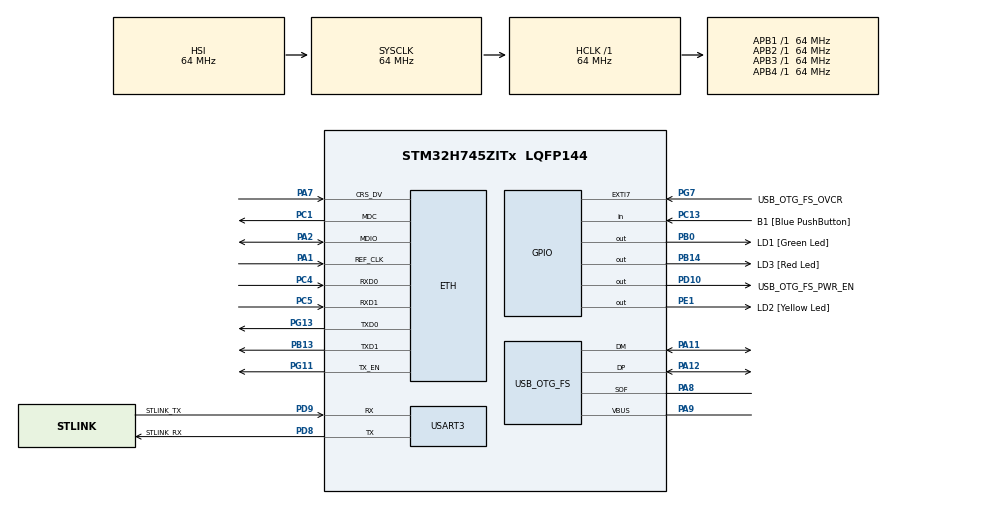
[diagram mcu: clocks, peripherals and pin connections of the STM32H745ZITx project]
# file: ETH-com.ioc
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CORTEX_M7.AccessPermission-Cortex_Memory_Protection_Unit_Region0_Settings=MPU_REGION_FULL_ACCESS
CORTEX_M7.AccessPermission-Cortex_Memory_Protection_Unit_Region1_Settings=MPU_REGION_FULL_ACCESS
CORTEX_M7.BaseAddress-Cortex_Memory_Protection_Unit_Region0_Settings=0x30040000
CORTEX_M7.BaseAddress-Cortex_Memory_Protection_Unit_Region1_Settings=0x30040000
CORTEX_M7.CPU_DCache=Enabled
CORTEX_M7.CPU_ICache=Enabled
CORTEX_M7.DisableExec-Cortex_Memory_Protection_Unit_Region0_Settings=MPU_INSTRUCTION_ACCESS_DISABLE
CORTEX_M7.DisableExec-Cortex_Memory_Protection_Unit_Region1_Settings=MPU_INSTRUCTION_ACCESS_DISABLE
CORTEX_M7.Enable-Cortex_Memory_Protection_Unit_Region0_Settings=MPU_REGION_ENABLE
CORTEX_M7.Enable-Cortex_Memory_Protection_Unit_Region1_Settings=MPU_REGION_ENABLE
CORTEX_M7.IsBufferable-Cortex_Memory_Protection_Unit_Region1_Settings=MPU_ACCESS_BUFFERABLE
CORTEX_M7.IsShareable-Cortex_Memory_Protection_Unit_Region1_Settings=MPU_ACCESS_SHAREABLE
CORTEX_M7.MPU_Control=MPU_PRIVILEGED_DEFAULT
CORTEX_M7.Size-Cortex_Memory_Protection_Unit_Region0_Settings=MPU_REGION_SIZE_32KB
CORTEX_M7.Size-Cortex_Memory_Protection_Unit_Region1_Settings=MPU_REGION_SIZE_256B
CORTEX_M7.TypeExtField-Cortex_Memory_Protection_Unit_Region0_Settings=MPU_TEX_LEVEL1
CortexM4.IPs=FATFS_M4\:I,FREERTOS_M4\:I,IWDG2\:I,RCC,WWDG2\:I,DMA,BDMA,MDMA,NVIC2\:I,USART3,ETH,DEBUG,USB_DEVICE_M4\:I,USB_HOST_M4\:I,PDM2PCM_M4\:I,PWR,RESMGR_UTILITY,SYS_M4\:I,CORTEX_M4\:I,OPENAMP_M4\:I,VREFBUF
CortexM7.IPs=FATFS_M7\:I,FREERTOS_M7\:I,IWDG1\:I,RCC\:I,WWDG1\:I,DMA\:I,BDMA\:I,MDMA\:I,NVIC1\:I,SYS\:I,USART3\:I,USB_OTG_FS\:I,ETH\:I,CORTEX_M7\:I,DEBUG\:I,USB_DEVICE_M7\:I,USB_HOST_M7\:I,PDM2PCM_M7\:I,PWR\:I,RESMGR_UTILITY\:I,OPENAMP_M7\:I,VREFBUF\:I,LWIP\:I,TIM7\:I,TIM2\:I
ETH.MediaInterface=HAL_ETH_RMII_MODE
FREERTOS_M7.Tasks01=defaultTask,24,256,StartDefaultTask,Default,NULL,Dynamic,NULL,NULL
FREERTOS_M7.configTOTAL_HEAP_SIZE=30720
LWIP.BSP.number=1
LWIP.IP_ADDRESS=192.168.001.110
LWIP.LWIP_DHCP=1
LWIP.MEM_SIZE=16360
LWIP.NETMASK_ADDRESS=255.255.255.000
LWIP.Version=v2.1.2_Cube
LWIP0.BSP.STBoard=false
LWIP0.BSP.api=BSP_COMPONENT_DRIVER
LWIP0.BSP.component=LAN8742
LWIP0.BSP.i2caddr=0
LWIP0.BSP.instance=LAN8742
LWIP0.BSP.name=Driver_PHY
LWIP0.BSP.solution=LAN8742
Mcu.Family=STM32H7
Mcu.Name=STM32H745ZITx
Mcu.Package=LQFP144
NVIC1.ETH_IRQn=true\:5\:0\:true\:false\:true\:true\:true\:true
NVIC1.ETH_WKUP_IRQn=true\:5\:0\:true\:false\:true\:true\:true\:true
NVIC1.PriorityGroup=NVIC_PRIORITYGROUP_4
NVIC1.TIM2_IRQn=true\:5\:0\:false\:false\:true\:true\:true\:true
NVIC1.TIM7_IRQn=true\:0\:0\:false\:false\:true\:false\:false\:true
NVIC1.TimeBase=TIM7_IRQn
NVIC1.TimeBaseIP=TIM7
NVIC1.USART3_IRQn=true\:15\:0\:true\:false\:true\:true\:true\:true
NVIC2.PriorityGroup=NVIC_PRIORITYGROUP_4
PA1.GPIO_Speed=GPIO_SPEED_FREQ_VERY_HIGH
PA1.Mode=RMII
PA1.PinAttribute=CortexM7
PA1.Signal=ETH_REF_CLK
PA11.Mode=Device_Only
PA11.PinAttribute=CortexM7
PA11.Signal=USB_OTG_FS_DM
PA12.Mode=Device_Only
PA12.PinAttribute=CortexM7
PA12.Signal=USB_OTG_FS_DP
PA2.GPIO_Speed=GPIO_SPEED_FREQ_VERY_HIGH
PA2.Mode=RMII
PA2.PinAttribute=CortexM7
PA2.Signal=ETH_MDIO
PA7.GPIO_Speed=GPIO_SPEED_FREQ_VERY_HIGH
PA7.Mode=RMII
PA7.PinAttribute=CortexM7
PA7.Signal=ETH_CRS_DV
PA8.Mode=Activate_SOF_FS
PA8.PinAttribute=CortexM7
PA8.Signal=USB_OTG_FS_SOF
PA9.Mode=Activate_VBUS
PA9.PinAttribute=CortexM7
PA9.Signal=USB_OTG_FS_VBUS
PB0.GPIO_Label=LD1 [Green Led]
PB0.PinAttribute=Free
PB0.Signal=GPIO_Output
PB13.GPIO_Speed=GPIO_SPEED_FREQ_VERY_HIGH
PB13.Mode=RMII
PB13.PinAttribute=CortexM7
PB13.Signal=ETH_TXD1
PB14.GPIO_Label=LD3 [Red Led]
PB14.PinAttribute=Free
PB14.Signal=GPIO_Output
PC1.GPIO_Speed=GPIO_SPEED_FREQ_VERY_HIGH
PC1.Mode=RMII
PC1.PinAttribute=CortexM7
PC1.Signal=ETH_MDC
PC13.GPIO_Label=B1 [Blue PushButton]
PC13.PinAttribute=Free
PC13.Signal=GPIO_Input
PC14-OSC32_IN\ (OSC32_IN).Mode=LSE-External-Oscillator
PC14-OSC32_IN\ (OSC32_IN).PinAttribute=CortexM7
PC14-OSC32_IN\ (OSC32_IN).Signal=RCC_OSC32_IN
PC15-OSC32_OUT\ (OSC32_OUT).Mode=LSE-External-Oscillator
PC15-OSC32_OUT\ (OSC32_OUT).PinAttribute=CortexM7
PC15-OSC32_OUT\ (OSC32_OUT).Signal=RCC_OSC32_OUT
PC4.GPIO_Speed=GPIO_SPEED_FREQ_VERY_HIGH
PC4.Mode=RMII
PC4.PinAttribute=CortexM7
PC4.Signal=ETH_RXD0
PC5.GPIO_Speed=GPIO_SPEED_FREQ_VERY_HIGH
PC5.Mode=RMII
PC5.PinAttribute=CortexM7
PC5.Signal=ETH_RXD1
PD10.GPIO_Label=USB_OTG_FS_PWR_EN
PD10.PinAttribute=Free
PD10.Signal=GPIO_Output
PD8.GPIO_Label=STLINK_RX
PD8.Mode=Asynchronous
PD8.PinAttribute=CortexM7
PD8.Signal=USART3_TX
PD9.GPIO_Label=STLINK_TX
PD9.Mode=Asynchronous
PD9.PinAttribute=CortexM7
PD9.Signal=USART3_RX
PE1.GPIO_Label=LD2 [Yellow Led]
PE1.PinAttribute=Free
PE1.Signal=GPIO_Output
PG11.GPIO_Speed=GPIO_SPEED_FREQ_VERY_HIGH
PG11.Mode=RMII
PG11.PinAttribute=CortexM7
PG11.Signal=ETH_TX_EN
PG13.GPIO_Speed=GPIO_SPEED_FREQ_VERY_HIGH
PG13.Mode=RMII
PG13.PinAttribute=CortexM7
PG13.Signal=ETH_TXD0
PG7.GPIO_Label=USB_OTG_FS_OVCR
PG7.PinAttribute=Free
PG7.Signal=GPXTI7
PH0-OSC_IN\ (PH0).Mode=HSE-External-Clock-Source
PH0-OSC_IN\ (PH0).PinAttribute=CortexM7
PH0-OSC_IN\ (PH0).Signal=RCC_OSC_IN
PH1-OSC_OUT\ (PH1).PinAttribute=CortexM7
PH1-OSC_OUT\ (PH1).Signal=RCC_OSC_OUT
ProjectManager.HeapSize=0x200
ProjectManager.StackSize=0x400
ProjectManager.TargetToolchain=STM32CubeIDE
RCC.ADCFreq_Value=16125000
RCC.APB1Freq_Value=64000000
RCC.APB2Freq_Value=64000000
RCC.APB3Freq_Value=64000000
RCC.APB4Freq_Value=64000000
RCC.CortexFreq_Value=64000000
RCC.DIVM1=18
RCC.DIVM3=1
RCC.DIVN3=24
RCC.DIVQ3=4
RCC.HCLKFreq_Value=64000000
RCC.HSE_VALUE=8000000
RCC.PLL2FRACN=0
RCC.PLL3FRACN=0
RCC.PLLFRACN=0
RCC.SYSCLKFreq_VALUE=64000000
RCC.SupplySource=PWR_DIRECT_SMPS_SUPPLY
RCC.USBCLockSelection=RCC_USBCLKSOURCE_PLL3
RCC.USBFreq_Value=48000000
TIM2.Period=64000
TIM2.Prescaler=1
USART3.VirtualMode-Asynchronous=VM_ASYNC
USB_OTG_FS.VirtualMode=Device_Only
VP_FREERTOS_M7_VS_CMSIS_V2.Mode=CMSIS_V2
VP_LWIP_VS_Enabled.Mode=Enabled
VP_SYS_M4_VS_Systick.Mode=SysTick
VP_SYS_VS_tim7.Mode=TIM7
VP_TIM2_VS_ClockSourceITR.Mode=TriggerSource_ITR0
board=NUCLEO-H745ZI-Q

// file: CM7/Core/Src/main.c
/* USER CODE BEGIN Header */
/**
  ******************************************************************************
  * @file           : main.c
  * @brief          : Main program body
  ******************************************************************************
  * @attention
  *
  * <h2><center>&copy; Copyright (c) 2020 STMicroelectronics.
  * All rights reserved.</center></h2>
  *
  * This software component is licensed by ST under BSD 3-Clause license,
  * the "License"; You may not use this file except in compliance with the
  * License. You may obtain a copy of the License at:
  *                        opensource.org/licenses/BSD-3-Clause
  *
  ******************************************************************************
  */
/* USER CODE END Header */
#include "main.h"
#include "cmsis_os.h"
#include "lwip.h"

/* USER CODE BEGIN Includes */
#include <lwip/udp.h>
#include <lwip/debug.h>
#include "lwip/tcp.h"
#include <string.h>
#include "../stm32h7xx_telnet_server/telnet_server.h"

#include "FreeRTOS.h"
#include "task.h"
#include "semphr.h"
/* USER CODE END Includes */

/* USER CODE BEGIN PD */

#define HSEM_ID_0 (0U) /* HW semaphore 0*/
/* USER CODE END PD */

TIM_HandleTypeDef htim2;

UART_HandleTypeDef huart3;

PCD_HandleTypeDef hpcd_USB_OTG_FS;

/* Definitions for defaultTask */
osThreadId_t defaultTaskHandle;
const osThreadAttr_t defaultTask_attributes = {
  .name = "defaultTask",
  .priority = (osPriority_t) osPriorityNormal,
  .stack_size = 256 * 4
};

void SystemClock_Config(void);
static void MPU_Config(void);
static void MX_GPIO_Init(void);
static void MX_USART3_UART_Init(void);
static void MX_USB_OTG_FS_PCD_Init(void);
static void MX_TIM2_Init(void);
void StartDefaultTask(void *argument);

int main(void)
{
/* USER CODE BEGIN Boot_Mode_Sequence_0 */
  int32_t timeout;
/* USER CODE END Boot_Mode_Sequence_0 */

  /* MPU Configuration--------------------------------------------------------*/
  MPU_Config();

  /* Enable I-Cache---------------------------------------------------------*/
  SCB_EnableICache();

  /* Enable D-Cache---------------------------------------------------------*/
  SCB_EnableDCache();

/* USER CODE BEGIN Boot_Mode_Sequence_1 */
  /* Wait until CPU2 boots and enters in stop mode or timeout*/
  timeout = 0xFFFF;
  while((__HAL_RCC_GET_FLAG(RCC_FLAG_D2CKRDY) != RESET) && (timeout-- > 0));
  if ( timeout < 0 )
  {
  Error_Handler();
  }
/* USER CODE END Boot_Mode_Sequence_1 */
  /* MCU Configuration--------------------------------------------------------*/

  /* Reset of all peripherals, Initializes the Flash interface and the Systick. */
  HAL_Init();

  /* Configure the system clock */
  SystemClock_Config();
/* USER CODE BEGIN Boot_Mode_Sequence_2 */
  /* When system initialization is finished, Cortex-M7 will release Cortex-M4 by means of
  HSEM notification */
  /*HW semaphore Clock enable*/
  __HAL_RCC_HSEM_CLK_ENABLE();
  /*Take HSEM */
  HAL_HSEM_FastTake(HSEM_ID_0);
  /*Release HSEM in order to notify the CPU2(CM4)*/
  HAL_HSEM_Release(HSEM_ID_0,0);
  /* wait until CPU2 wakes up from stop mode */
  timeout = 0xFFFF;
  while((__HAL_RCC_GET_FLAG(RCC_FLAG_D2CKRDY) == RESET) && (timeout-- > 0));
  if ( timeout < 0 )
  {
  Error_Handler();
  }
/* USER CODE END Boot_Mode_Sequence_2 */

  /* Initialize all configured peripherals */
  MX_GPIO_Init();
  MX_USART3_UART_Init();
  MX_USB_OTG_FS_PCD_Init();
  MX_TIM2_Init();
  /* USER CODE BEGIN 2 */

  // PB0 - GREEN LED / PB14 - RED LED
  GPIO_InitTypeDef GPIO_InitStruct;
  HAL_GPIO_WritePin(GPIOB, GPIO_PIN_14 | GPIO_PIN_0, GPIO_PIN_RESET);
  GPIO_InitStruct.Pin = GPIO_PIN_14 | GPIO_PIN_0;
  GPIO_InitStruct.Mode = GPIO_MODE_OUTPUT_PP;
  GPIO_InitStruct.Pull = GPIO_NOPULL;
  GPIO_InitStruct.Speed = GPIO_SPEED_FREQ_LOW;
  HAL_GPIO_Init(GPIOB, &GPIO_InitStruct);

  // PE1 - ORANGE LED
  __HAL_RCC_GPIOE_CLK_ENABLE();
  HAL_GPIO_WritePin(GPIOE, GPIO_PIN_1, GPIO_PIN_RESET);
  GPIO_InitStruct.Pin = GPIO_PIN_1;
  HAL_GPIO_Init(GPIOE, &GPIO_InitStruct);
  /* USER CODE END 2 */

  /* Init scheduler */
  osKernelInitialize();

  /* Create the thread(s) */
  /* creation of defaultTask */
  defaultTaskHandle = osThreadNew(StartDefaultTask, NULL, &defaultTask_attributes);

  /* Start scheduler */
  osKernelStart();

  /* We should never get here as control is now taken by the scheduler */
  /* Infinite loop */
  while (1)
  {

  }
}

void SystemClock_Config(void)
{
  RCC_OscInitTypeDef RCC_OscInitStruct = {0};
  RCC_ClkInitTypeDef RCC_ClkInitStruct = {0};
  RCC_PeriphCLKInitTypeDef PeriphClkInitStruct = {0};

  /** Supply configuration update enable
  */
  HAL_PWREx_ConfigSupply(PWR_DIRECT_SMPS_SUPPLY);
  /** Configure the main internal regulator output voltage
  */
  __HAL_PWR_VOLTAGESCALING_CONFIG(PWR_REGULATOR_VOLTAGE_SCALE3);

  while(!__HAL_PWR_GET_FLAG(PWR_FLAG_VOSRDY)) {}
  /** Macro to configure the PLL clock source
  */
  __HAL_RCC_PLL_PLLSOURCE_CONFIG(RCC_PLLSOURCE_HSE);
  /** Initializes the RCC Oscillators according to the specified parameters
  * in the RCC_OscInitTypeDef structure.
  */
  RCC_OscInitStruct.OscillatorType = RCC_OSCILLATORTYPE_HSI|RCC_OSCILLATORTYPE_HSE;
  RCC_OscInitStruct.HSEState = RCC_HSE_BYPASS;
  RCC_OscInitStruct.HSIState = RCC_HSI_DIV1;
  RCC_OscInitStruct.HSICalibrationValue = RCC_HSICALIBRATION_DEFAULT;
  RCC_OscInitStruct.PLL.PLLState = RCC_PLL_NONE;
  RCC_OscInitStruct.PLL.PLLSource = RCC_PLLSOURCE_HSE;
  if (HAL_RCC_OscConfig(&RCC_OscInitStruct) != HAL_OK)
  {
    Error_Handler();
  }
  /** Initializes the CPU, AHB and APB buses clocks
  */
  RCC_ClkInitStruct.ClockType = RCC_CLOCKTYPE_HCLK|RCC_CLOCKTYPE_SYSCLK
                              |RCC_CLOCKTYPE_PCLK1|RCC_CLOCKTYPE_PCLK2
                              |RCC_CLOCKTYPE_D3PCLK1|RCC_CLOCKTYPE_D1PCLK1;
  RCC_ClkInitStruct.SYSCLKSource = RCC_SYSCLKSOURCE_HSI;
  RCC_ClkInitStruct.SYSCLKDivider = RCC_SYSCLK_DIV1;
  RCC_ClkInitStruct.AHBCLKDivider = RCC_HCLK_DIV1;
  RCC_ClkInitStruct.APB3CLKDivider = RCC_APB3_DIV1;
  RCC_ClkInitStruct.APB1CLKDivider = RCC_APB1_DIV1;
  RCC_ClkInitStruct.APB2CLKDivider = RCC_APB2_DIV1;
  RCC_ClkInitStruct.APB4CLKDivider = RCC_APB4_DIV1;

  if (HAL_RCC_ClockConfig(&RCC_ClkInitStruct, FLASH_LATENCY_0) != HAL_OK)
  {
    Error_Handler();
  }
  PeriphClkInitStruct.PeriphClockSelection = RCC_PERIPHCLK_USART3|RCC_PERIPHCLK_USB;
  PeriphClkInitStruct.PLL3.PLL3M = 1;
  PeriphClkInitStruct.PLL3.PLL3N = 24;
  PeriphClkInitStruct.PLL3.PLL3P = 2;
  PeriphClkInitStruct.PLL3.PLL3Q = 4;
  PeriphClkInitStruct.PLL3.PLL3R = 2;
  PeriphClkInitStruct.PLL3.PLL3RGE = RCC_PLL3VCIRANGE_3;
  PeriphClkInitStruct.PLL3.PLL3VCOSEL = RCC_PLL3VCOWIDE;
  PeriphClkInitStruct.PLL3.PLL3FRACN = 0;
  PeriphClkInitStruct.Usart234578ClockSelection = RCC_USART234578CLKSOURCE_D2PCLK1;
  PeriphClkInitStruct.UsbClockSelection = RCC_USBCLKSOURCE_PLL3;
  if (HAL_RCCEx_PeriphCLKConfig(&PeriphClkInitStruct) != HAL_OK)
  {
    Error_Handler();
  }
  /** Enable USB Voltage detector
  */
  HAL_PWREx_EnableUSBVoltageDetector();
}

static void MX_TIM2_Init(void)
{

  TIM_SlaveConfigTypeDef sSlaveConfig = {0};
  TIM_MasterConfigTypeDef sMasterConfig = {0};

  htim2.Instance = TIM2;
  htim2.Init.Prescaler = 1;
  htim2.Init.CounterMode = TIM_COUNTERMODE_UP;
  htim2.Init.Period = 64000;
  htim2.Init.ClockDivision = TIM_CLOCKDIVISION_DIV1;
  htim2.Init.AutoReloadPreload = TIM_AUTORELOAD_PRELOAD_DISABLE;
  if (HAL_TIM_Base_Init(&htim2) != HAL_OK)
  {
    Error_Handler();
  }
  sSlaveConfig.SlaveMode = TIM_SLAVEMODE_DISABLE;
  sSlaveConfig.InputTrigger = TIM_TS_ITR0;
  if (HAL_TIM_SlaveConfigSynchro(&htim2, &sSlaveConfig) != HAL_OK)
  {
    Error_Handler();
  }
  sMasterConfig.MasterOutputTrigger = TIM_TRGO_RESET;
  sMasterConfig.MasterSlaveMode = TIM_MASTERSLAVEMODE_DISABLE;
  if (HAL_TIMEx_MasterConfigSynchronization(&htim2, &sMasterConfig) != HAL_OK)
  {
    Error_Handler();
  }

}

static void MX_USART3_UART_Init(void)
{

  huart3.Instance = USART3;
  huart3.Init.BaudRate = 115200;
  huart3.Init.WordLength = UART_WORDLENGTH_8B;
  huart3.Init.StopBits = UART_STOPBITS_1;
  huart3.Init.Parity = UART_PARITY_NONE;
  huart3.Init.Mode = UART_MODE_TX_RX;
  huart3.Init.HwFlowCtl = UART_HWCONTROL_NONE;
  huart3.Init.OverSampling = UART_OVERSAMPLING_16;
  huart3.Init.OneBitSampling = UART_ONE_BIT_SAMPLE_DISABLE;
  huart3.Init.ClockPrescaler = UART_PRESCALER_DIV1;
  huart3.AdvancedInit.AdvFeatureInit = UART_ADVFEATURE_NO_INIT;
  if (HAL_UART_Init(&huart3) != HAL_OK)
  {
    Error_Handler();
  }
  if (HAL_UARTEx_SetTxFifoThreshold(&huart3, UART_TXFIFO_THRESHOLD_1_8) != HAL_OK)
  {
    Error_Handler();
  }
  if (HAL_UARTEx_SetRxFifoThreshold(&huart3, UART_RXFIFO_THRESHOLD_1_8) != HAL_OK)
  {
    Error_Handler();
  }
  if (HAL_UARTEx_DisableFifoMode(&huart3) != HAL_OK)
  {
    Error_Handler();
  }

}

static void MX_USB_OTG_FS_PCD_Init(void)
{

  hpcd_USB_OTG_FS.Instance = USB_OTG_FS;
  hpcd_USB_OTG_FS.Init.dev_endpoints = 9;
  hpcd_USB_OTG_FS.Init.speed = PCD_SPEED_FULL;
  hpcd_USB_OTG_FS.Init.dma_enable = DISABLE;
  hpcd_USB_OTG_FS.Init.phy_itface = PCD_PHY_EMBEDDED;
  hpcd_USB_OTG_FS.Init.Sof_enable = DISABLE;
  hpcd_USB_OTG_FS.Init.low_power_enable = DISABLE;
  hpcd_USB_OTG_FS.Init.lpm_enable = DISABLE;
  hpcd_USB_OTG_FS.Init.battery_charging_enable = ENABLE;
  hpcd_USB_OTG_FS.Init.vbus_sensing_enable = ENABLE;
  hpcd_USB_OTG_FS.Init.use_dedicated_ep1 = DISABLE;
  if (HAL_PCD_Init(&hpcd_USB_OTG_FS) != HAL_OK)
  {
    Error_Handler();
  }

}

static void MX_GPIO_Init(void)
{

  /* GPIO Ports Clock Enable */
  __HAL_RCC_GPIOC_CLK_ENABLE();
  __HAL_RCC_GPIOH_CLK_ENABLE();
  __HAL_RCC_GPIOA_CLK_ENABLE();
  __HAL_RCC_GPIOB_CLK_ENABLE();
  __HAL_RCC_GPIOD_CLK_ENABLE();
  __HAL_RCC_GPIOG_CLK_ENABLE();

}

void StartDefaultTask(void *argument)
{
  /* init code for LWIP */
  MX_LWIP_Init();
  /* USER CODE BEGIN 5 */
  telnet_create (23, &huart3); // standard for telnet is Port 23
  telnet_create (24, &huart3); // extra connection used as an example (repeats serial periph)

  udp_echo_create(7777);

  while(1)
  {
	  HAL_GPIO_TogglePin(GPIOB, GPIO_PIN_0); // NUCLEO green LED
	  osDelay(500);
  }
  /* USER CODE END 5 */
}

/* MPU Configuration */

void MPU_Config(void)
{
  MPU_Region_InitTypeDef MPU_InitStruct = {0};

  /* Disables the MPU */
  HAL_MPU_Disable();
  /** Initializes and configures the Region and the memory to be protected
  */
  MPU_InitStruct.Enable = MPU_REGION_ENABLE;
  MPU_InitStruct.Number = MPU_REGION_NUMBER0;
  MPU_InitStruct.BaseAddress = 0x30040000;
  MPU_InitStruct.Size = MPU_REGION_SIZE_32KB;
  MPU_InitStruct.SubRegionDisable = 0x0;
  MPU_InitStruct.TypeExtField = MPU_TEX_LEVEL1;
  MPU_InitStruct.AccessPermission = MPU_REGION_FULL_ACCESS;
  MPU_InitStruct.DisableExec = MPU_INSTRUCTION_ACCESS_DISABLE;
  MPU_InitStruct.IsShareable = MPU_ACCESS_NOT_SHAREABLE;
  MPU_InitStruct.IsCacheable = MPU_ACCESS_NOT_CACHEABLE;
  MPU_InitStruct.IsBufferable = MPU_ACCESS_NOT_BUFFERABLE;

  HAL_MPU_ConfigRegion(&MPU_InitStruct);
  /** Initializes and configures the Region and the memory to be protected
  */
  MPU_InitStruct.Enable = MPU_REGION_ENABLE;
  MPU_InitStruct.Number = MPU_REGION_NUMBER1;
  MPU_InitStruct.BaseAddress = 0x30040000;
  MPU_InitStruct.Size = MPU_REGION_SIZE_256B;
  MPU_InitStruct.SubRegionDisable = 0x0;
  MPU_InitStruct.TypeExtField = MPU_TEX_LEVEL0;
  MPU_InitStruct.AccessPermission = MPU_REGION_FULL_ACCESS;
  MPU_InitStruct.DisableExec = MPU_INSTRUCTION_ACCESS_DISABLE;
  MPU_InitStruct.IsShareable = MPU_ACCESS_SHAREABLE;
  MPU_InitStruct.IsCacheable = MPU_ACCESS_NOT_CACHEABLE;
  MPU_InitStruct.IsBufferable = MPU_ACCESS_BUFFERABLE;

  HAL_MPU_ConfigRegion(&MPU_InitStruct);
  /* Enables the MPU */
  HAL_MPU_Enable(MPU_PRIVILEGED_DEFAULT);

}
void HAL_TIM_PeriodElapsedCallback(TIM_HandleTypeDef *htim)
{
  if (htim->Instance == TIM7) {
    HAL_IncTick();
  }
}

void Error_Handler(void)
{
  /* USER CODE BEGIN Error_Handler_Debug */
  /* User can add his own implementation to report the HAL error return state */

  for(;;);
  /* USER CODE END Error_Handler_Debug */
}

/************************ (C) COPYRIGHT STMicroelectronics *****END OF FILE****/
